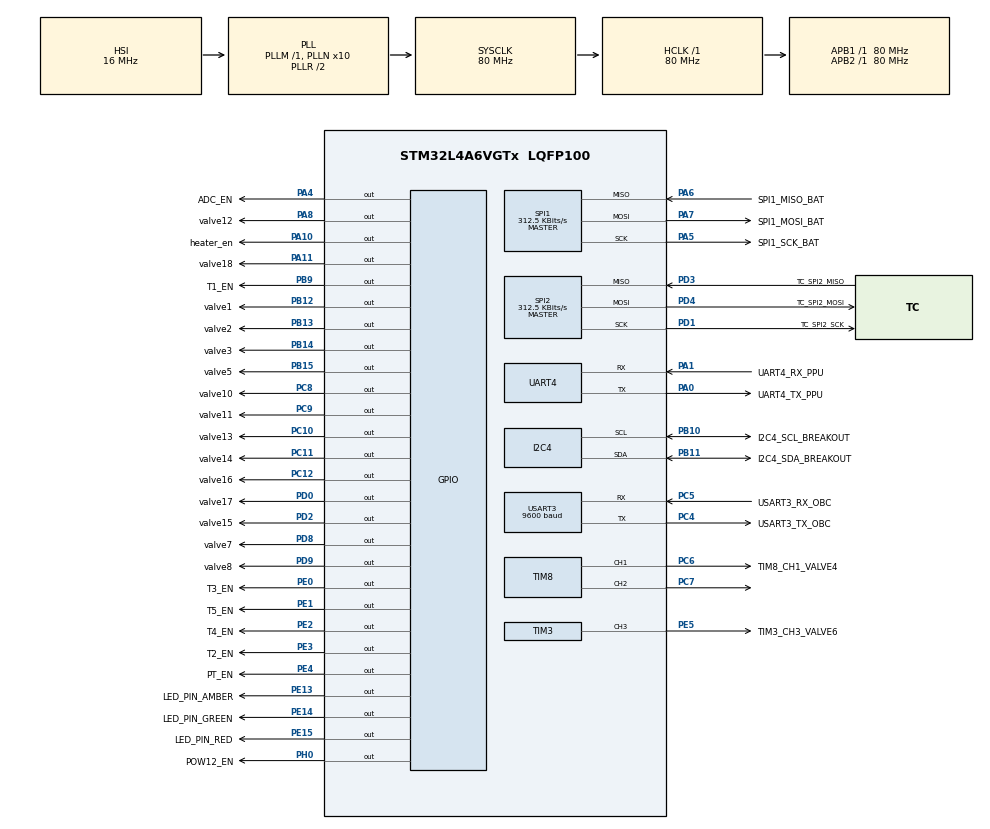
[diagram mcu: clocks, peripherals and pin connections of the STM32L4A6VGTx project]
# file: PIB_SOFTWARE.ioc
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FREERTOS.BinarySemaphores01=s_rx_semaphore,Dynamic,NULL,Depleted;s_tx_semaphore,Dynamic,NULL,Depleted
FREERTOS.Mutexes01=fsm_mutex,Static,myMutex01ControlBlock,Available;spi_mutex,Dynamic,NULL,Available;i2c_mutex,Dynamic,NULL,Available;command_flags_mutex,Dynamic,NULL,Available;data_mutex,Dynamic,NULL,Available;error_flag_mutex,Dynamic,NULL,Available;uart_mutex,Dynamic,NULL,Available
FREERTOS.Queues01=q_safety_cmds,10,uint8_t,0,Dynamic,NULL,NULL;q_normal_cmds,10,uint8_t,0,Dynamic,NULL,NULL
FREERTOS.Tasks01=heart_beat,8,500,StartDefaultTask,Default,NULL,Dynamic,NULL,NULL;Task_UART_RX,40,500,StartTask02,Default,NULL,Dynamic,NULL,NULL;Task_Safety,40,500,StartTask03,Default,NULL,Dynamic,NULL,NULL;Task_Experiment,32,900,StartTask04,Default,NULL,Dynamic,NULL,NULL;Task_UART_TX,24,500,StartTask05,Default,NULL,Dynamic,NULL,NULL;Task_Data,24,500,StartTask06,Default,NULL,Dynamic,NULL,NULL;Task_FSM,40,500,StartTask07,Default,NULL,Dynamic,NULL,NULL
FREERTOS.configMINIMAL_STACK_SIZE=500
FREERTOS.configTOTAL_HEAP_SIZE=20000
FREERTOS.configUSE_NEWLIB_REENTRANT=1
I2C4.Timing=0x10D19CE4
Mcu.Family=STM32L4
Mcu.Name=STM32L4A6VGTx
Mcu.Package=LQFP100
NVIC.PriorityGroup=NVIC_PRIORITYGROUP_4
NVIC.TIM6_DAC_IRQn=true\:15\:0\:false\:false\:true\:false\:false\:true\:true
NVIC.TimeBase=TIM6_DAC_IRQn
NVIC.TimeBaseIP=TIM6
NVIC.USART3_IRQn=true\:5\:0\:false\:false\:true\:true\:true\:true\:true
PA0.GPIO_Label=UART4_TX_PPU
PA0.Mode=Asynchronous
PA0.Signal=UART4_TX
PA1.GPIO_Label=UART4_RX_PPU
PA1.Mode=Asynchronous
PA1.Signal=UART4_RX
PA10.GPIO_Label=heater_en
PA10.Signal=GPIO_Output
PA11.GPIO_Label=valve18
PA11.Signal=GPIO_Output
PA13\ (JTMS/SWDIO).Mode=Trace_Asynchronous_SW
PA13\ (JTMS/SWDIO).Signal=SYS_JTMS-SWDIO
PA14\ (JTCK/SWCLK).Mode=Trace_Asynchronous_SW
PA14\ (JTCK/SWCLK).Signal=SYS_JTCK-SWCLK
PA4.GPIO_Label=ADC_EN
PA4.Signal=GPIO_Output
PA5.GPIO_Label=SPI1_SCK_BAT
PA5.Mode=Full_Duplex_Master
PA5.Signal=SPI1_SCK
PA6.GPIO_Label=SPI1_MISO_BAT
PA6.Mode=Full_Duplex_Master
PA6.Signal=SPI1_MISO
PA7.GPIO_Label=SPI1_MOSI_BAT
PA7.Mode=Full_Duplex_Master
PA7.Signal=SPI1_MOSI
PA8.GPIO_Label=valve12
PA8.Signal=GPIO_Output
PB10.GPIO_Label=I2C4_SCL_BREAKOUT
PB10.Mode=I2C
PB10.Signal=I2C4_SCL
PB11.GPIO_Label=I2C4_SDA_BREAKOUT
PB11.Mode=I2C
PB11.Signal=I2C4_SDA
PB12.GPIO_Label=valve1
PB12.Signal=GPIO_Output
PB13.GPIO_Label=valve2
PB13.Signal=GPIO_Output
PB14.GPIO_Label=valve3
PB14.Signal=GPIO_Output
PB15.GPIO_Label=valve5
PB15.Signal=GPIO_Output
PB3\ (JTDO/TRACESWO).Mode=Trace_Asynchronous_SW
PB3\ (JTDO/TRACESWO).Signal=SYS_JTDO-SWO
PB9.GPIO_Label=T1_EN
PB9.Signal=GPIO_Output
PC10.GPIO_Label=valve13
PC10.Signal=GPIO_Output
PC11.GPIO_Label=valve14
PC11.Signal=GPIO_Output
PC12.GPIO_Label=valve16
PC12.Signal=GPIO_Output
PC4.GPIO_Label=USART3_TX_OBC
PC4.Mode=Asynchronous
PC4.Signal=USART3_TX
PC5.GPIO_Label=USART3_RX_OBC
PC5.Mode=Asynchronous
PC5.Signal=USART3_RX
PC6.GPIO_Label=TIM8_CH1_VALVE4
PC6.Signal=S_TIM8_CH1
PC7.Signal=S_TIM8_CH2
PC8.GPIO_Label=valve10
PC8.Signal=GPIO_Output
PC9.GPIO_Label=valve11
PC9.Signal=GPIO_Output
PD0.GPIO_Label=valve17
PD0.Signal=GPIO_Output
PD1.GPIO_Label=TC_SPI2_SCK
PD1.Mode=Full_Duplex_Master
PD1.Signal=SPI2_SCK
PD2.GPIO_Label=valve15
PD2.Signal=GPIO_Output
PD3.GPIO_Label=TC_SPI2_MISO
PD3.Mode=Full_Duplex_Master
PD3.Signal=SPI2_MISO
PD4.GPIO_Label=TC_SPI2_MOSI
PD4.Mode=Full_Duplex_Master
PD4.Signal=SPI2_MOSI
PD8.GPIO_Label=valve7
PD8.Signal=GPIO_Output
PD9.GPIO_Label=valve8
PD9.Signal=GPIO_Output
PE0.GPIO_Label=T3_EN
PE0.Signal=GPIO_Output
PE1.GPIO_Label=T5_EN
PE1.Signal=GPIO_Output
PE13.GPIO_Label=LED_PIN_AMBER
PE13.Signal=GPIO_Output
PE14.GPIO_Label=LED_PIN_GREEN
PE14.Signal=GPIO_Output
PE15.GPIO_Label=LED_PIN_RED
PE15.Signal=GPIO_Output
PE2.GPIO_Label=T4_EN
PE2.Signal=GPIO_Output
PE3.GPIO_Label=T2_EN
PE3.Signal=GPIO_Output
PE4.GPIO_Label=PT_EN
PE4.Signal=GPIO_Output
PE5.GPIO_Label=TIM3_CH3_VALVE6
PE5.Signal=S_TIM3_CH3
PH0-OSC_IN\ (PH0).GPIO_Label=POW12_EN
PH0-OSC_IN\ (PH0).Signal=GPIO_Output
ProjectManager.HeapSize=0x200
ProjectManager.StackSize=0x400
ProjectManager.TargetToolchain=STM32CubeIDE
RCC.ADCFreq_Value=64000000
RCC.AHBFreq_Value=80000000
RCC.APB1Freq_Value=80000000
RCC.APB1TimFreq_Value=80000000
RCC.APB2Freq_Value=80000000
RCC.APB2TimFreq_Value=80000000
RCC.CortexFreq_Value=80000000
RCC.HCLKFreq_Value=80000000
RCC.HSE_VALUE=8000000
RCC.HSI48_VALUE=48000000
RCC.HSI_VALUE=16000000
RCC.LSE_VALUE=32768
RCC.MSI_VALUE=4000000
RCC.PLLN=10
RCC.PLLSourceVirtual=RCC_PLLSOURCE_HSI
RCC.SYSCLKFreq_VALUE=80000000
RCC.SYSCLKSource=RCC_SYSCLKSOURCE_PLLCLK
RCC.USBFreq_Value=64000000
RCC.VCOOutputFreq_Value=160000000
SH.S_TIM3_CH3.0=TIM3_CH3,PWM Generation3 CH3
SH.S_TIM8_CH1.0=TIM8_CH1,PWM Generation1 CH1
SH.S_TIM8_CH2.0=TIM8_CH2,PWM Generation2 CH2
SPI1.BaudRatePrescaler=SPI_BAUDRATEPRESCALER_256
SPI1.CLKPhase=SPI_PHASE_2EDGE
SPI1.CLKPolarity=SPI_POLARITY_HIGH
SPI1.CalculateBaudRate=312.5 KBits/s
SPI1.DataSize=SPI_DATASIZE_8BIT
SPI1.Direction=SPI_DIRECTION_2LINES
SPI1.Mode=SPI_MODE_MASTER
SPI1.VirtualType=VM_MASTER
SPI2.BaudRatePrescaler=SPI_BAUDRATEPRESCALER_256
SPI2.CLKPhase=SPI_PHASE_2EDGE
SPI2.CLKPolarity=SPI_POLARITY_HIGH
SPI2.CalculateBaudRate=312.5 KBits/s
SPI2.DataSize=SPI_DATASIZE_8BIT
SPI2.Direction=SPI_DIRECTION_2LINES
SPI2.Mode=SPI_MODE_MASTER
SPI2.VirtualType=VM_MASTER
TIM3.Channel-PWM\ Generation3\ CH3=TIM_CHANNEL_3
TIM3.Period=400-1
TIM3.Prescaler=4-1
TIM8.AutoReloadPreload=TIM_AUTORELOAD_PRELOAD_ENABLE
TIM8.Channel-PWM\ Generation1\ CH1=TIM_CHANNEL_1
TIM8.Channel-PWM\ Generation2\ CH2=TIM_CHANNEL_2
USART3.BaudRate=9600
USART3.VirtualMode-Asynchronous=VM_ASYNC
VP_FREERTOS_VS_CMSIS_V2.Mode=CMSIS_V2
VP_SYS_VS_tim6.Mode=TIM6
VP_TIM3_VS_ClockSourceINT.Mode=Internal
VP_TIM8_VS_ClockSourceINT.Mode=Internal
board=custom

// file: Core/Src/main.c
/* USER CODE BEGIN Header */
/**
  ******************************************************************************
  * @file           : main.c
  * @brief          : Main program body
  ******************************************************************************
  * @attention
  *
  * Copyright (c) 2026 STMicroelectronics.
  * All rights reserved.
  *
  * This software is licensed under terms that can be found in the LICENSE file
  * in the root directory of this software component.
  * If no LICENSE file comes with this software, it is provided AS-IS.
  *
  ******************************************************************************
  */
/* USER CODE END Header */
#include "main.h"
#include "cmsis_os.h"
#include "i2c.h"
#include "spi.h"
#include "tim.h"
#include "usart.h"
#include "gpio.h"

/* USER CODE BEGIN Includes */

/* Native FreeRTOS — needed for ISR-safe functions */
#include "FreeRTOS.h"
#include "semphr.h"

extern osSemaphoreId_t s_rx_semaphoreHandle;

// ----------------- Sensor Includes -----------------------

#include "ad7124_console_app.h"
#include "ad7124.h"
#include "max31856.h"
#include "fdc2214.h"
#include "ad7177.h"

// Serial Interface For Debugging || Serial wire JTAG debug port (SWJ-DP)
#include <stdio.h>

// Include main struct

#include "systems.h"

#include "pwm.h"

/* USER CODE END Includes */

/* USER CODE BEGIN PV */

int32_t setupResult;
uint32_t device_id;
uint8_t rx_cmd[2]; // single byte for all UART commands. second byte for arguments if needed. (e.g. for setting pressure value)
uint8_t rx_cmd_copy[2];  // task reads from here — declare this globally

uint8_t tx_cmd[1];
char uart_buffer[64]; // used for sending data across uart3
float temperature;
float value;
uint8_t duty_cycle;
uint32_t frequency;
GPIO_PinState pinState;

struct system_flags payload_flags = {
	.exceed_pressure_flag = false,
	.exceed_temp_flag = false
};

struct error_flags error_flags = {

};

struct Data_Log data_payload_packet;

Payload_System Payload_Sys;

extern osMutexId_t uart_mutexHandle;

// chip struct defines to be able to extern them.
max31856_t max31856T1 = {
    .spi_handle = &hspi2,
    .cs_pin = { .gpio_port = T1_EN_GPIO_Port, .gpio_pin = T1_EN_Pin }
};

max31856_t max31856T2 = {
    .spi_handle = &hspi2,
    .cs_pin = { .gpio_port = T2_EN_GPIO_Port, .gpio_pin = T2_EN_Pin }
};

max31856_t max31856T3 = {
    .spi_handle = &hspi2,
    .cs_pin = { .gpio_port = T3_EN_GPIO_Port, .gpio_pin = T3_EN_Pin }
};

max31856_t max31856T4 = {
    .spi_handle = &hspi2,
    .cs_pin = { .gpio_port = T4_EN_GPIO_Port, .gpio_pin = T4_EN_Pin }
};

max31856_t max31856T5 = {
    .spi_handle = &hspi2,
    .cs_pin = { .gpio_port = T5_EN_GPIO_Port, .gpio_pin = T5_EN_Pin }
};

/* USER CODE END PV */

void SystemClock_Config(void);
void MX_FREERTOS_Init(void);

/* USER CODE BEGIN 0 */

// struct max31856_t *max31856;

/* USER CODE END 0 */

int main(void)
{

  /* MCU Configuration--------------------------------------------------------*/

  /* Reset of all peripherals, Initializes the Flash interface and the Systick. */
  HAL_Init();

  /* Configure the system clock */
  SystemClock_Config();

  /* USER CODE BEGIN SysInit */

//  GPIO_Driver_Init(&LED_BLINK);

  /* USER CODE END SysInit */

  /* Initialize all configured peripherals */
  MX_GPIO_Init();
  MX_I2C4_Init();
  MX_SPI1_Init();
  MX_SPI2_Init();
  MX_UART4_Init();
  MX_USART3_UART_Init();
  MX_TIM8_Init();
  MX_TIM3_Init();
  /* USER CODE BEGIN 2 */

  // Initialize Payload Main Struct
  Payload_Sys.fsm_state = STATE_BOOT;
  Payload_Sys.err_flags = error_flags;
  Payload_Sys.sys_flags = payload_flags;
  Payload_Sys.data_log = data_payload_packet;

//  HAL_GPIO_WritePin(LED_PIN_RED_GPIO_Port, LED_PIN_RED_Pin, GPIO_PIN_SET);

  // blocking no work
//  HAL_UART_Receive(&huart3, rx_cmd, 1,0xFFFF);
//  HAL_UART_Transmit(&huart3, rx_cmd, 1, 0xFFFF);

  // start receiving UART commands.

  HAL_UART_Receive_IT(&huart3, rx_cmd, 2);
 // HAL_UART_Receive_DMA(&huart3, rx_cmd, 2);

  // https://deepbluembedded.com/stm32-uart-dma-receive-transmit-rx-tx-examples/

// DEACTIVATE ALL SPI2 ICs

// (NOT CS) So if a pin is pulled low the chip will be selected.

  // SPI 2 BUS
  HAL_GPIO_WritePin(T1_EN_GPIO_Port, T1_EN_Pin, GPIO_PIN_SET);
  HAL_GPIO_WritePin(T2_EN_GPIO_Port, T2_EN_Pin, GPIO_PIN_SET);
  HAL_GPIO_WritePin(T3_EN_GPIO_Port, T3_EN_Pin, GPIO_PIN_SET);
  HAL_GPIO_WritePin(T4_EN_GPIO_Port, T4_EN_Pin, GPIO_PIN_SET);
  HAL_GPIO_WritePin(T5_EN_GPIO_Port, T5_EN_Pin, GPIO_PIN_SET);
  HAL_GPIO_WritePin(PT_EN_GPIO_Port, PT_EN_Pin, GPIO_PIN_SET);
  // SPI 1 BUS

//  HAL_GPIO_WritePin(heater_en_GPIO_Port, heater_en_Pin, GPIO_PIN_SET);

  HAL_GPIO_WritePin(ADC_EN_GPIO_Port, ADC_EN_Pin, GPIO_PIN_SET);

  HAL_GPIO_WritePin(POW12_EN_GPIO_Port, POW12_EN_Pin, GPIO_PIN_SET); // turn on voltage regulator.

 // create a setup function for all sensors and turn red_led if fails to setup / read from device id's of all sensors

    // RED = MAX31856 Fail
    // AMBER = ADC2214 Voltage
    // AMBER + GREEN = ADC2214 Pressure
    // RED + AMBER = FDC2214
    // Green = Everything Setup Correctly

// ------------------ SET-UP SENSORS -------------------- \\

// ADC7124 || PT Readings Init

  /* Initialize the AD7124 application before the FreeRTOS takes over  */

    // this setup will be for POWER
    // added param for cs -> CS = 0 = AD7124 VOLTAGE      |
    				//       CS = 1 = AD7124 PRESSURE   | for measuring

// Setup pressure ADC

    if ((setupResult = ad7124_app_initialize(AD7124_CONFIG_B,PRESSURE)) < 0) {
  		// Handle error setting up AD7124 here
  	  printf("Failed to init ad7124 pressure \n");
  	  HAL_GPIO_WritePin(LED_PIN_AMBER_GPIO_Port, LED_PIN_AMBER_Pin, GPIO_PIN_SET);
      HAL_GPIO_WritePin(LED_PIN_GREEN_GPIO_Port, LED_PIN_GREEN_Pin, GPIO_PIN_RESET);
    }
    printf("Setup Pressure Result: %ld", setupResult);

// Setup Voltage ADC

    if ((setupResult = ad7124_app_initialize(AD7124_CONFIG_B,VOLTAGE)) < 0) {
  		// Handle error setting up AD7124 here
  	  printf("Failed to init ad7124 voltage \n");
  	  HAL_GPIO_WritePin(LED_PIN_AMBER_GPIO_Port, LED_PIN_AMBER_Pin, GPIO_PIN_SET);

    }

    printf("Setup voltage Result: %ld", setupResult);

// MAX31856 Setup || Temperature Reading K-Type Thermocouples Readings INIT

// T1

   	max31856_init(&max31856T1);

   	max31856_set_noise_filter(&max31856T1, CR0_FILTER_OUT_60Hz); // Noise filter is for filtering out EMI in very long wires
   	max31856_set_cold_junction_enable(&max31856T1, CR0_CJ_ENABLED); // External Sensor which measures the cold junction and references
   	max31856_set_thermocouple_type(&max31856T1, CR1_TC_TYPE_K); // K - type thermocouple
   	max31856_set_average_samples(&max31856T1, CR1_AVG_TC_SAMPLES_2);
   	max31856_set_open_circuit_fault_detection(&max31856T1, CR0_OC_DETECT_ENABLED_TC_LESS_2ms);
   	max31856_set_conversion_mode(&max31856T1, CR0_CONV_CONTINUOUS);

//   T2

 	max31856_init(&max31856T2);

   	max31856_set_noise_filter(&max31856T2, CR0_FILTER_OUT_60Hz);
   	max31856_set_cold_junction_enable(&max31856T2, CR0_CJ_ENABLED); // External Sensor which measures the cold junction and references
   	max31856_set_thermocouple_type(&max31856T2, CR1_TC_TYPE_K); // K - type thermocouple
   	max31856_set_average_samples(&max31856T2, CR1_AVG_TC_SAMPLES_2);
   	max31856_set_open_circuit_fault_detection(&max31856T2, CR0_OC_DETECT_ENABLED_TC_LESS_2ms);
   	max31856_set_conversion_mode(&max31856T2, CR0_CONV_CONTINUOUS); // continous mode for testing

//   T3

 	max31856_init(&max31856T3);

   	max31856_set_noise_filter(&max31856T3, CR0_FILTER_OUT_60Hz);
   	max31856_set_cold_junction_enable(&max31856T3, CR0_CJ_ENABLED);
   	max31856_set_thermocouple_type(&max31856T3, CR1_TC_TYPE_K);
   	max31856_set_average_samples(&max31856T3, CR1_AVG_TC_SAMPLES_2);
   	max31856_set_open_circuit_fault_detection(&max31856T3, CR0_OC_DETECT_ENABLED_TC_LESS_2ms);
   	max31856_set_conversion_mode(&max31856T3, CR0_CONV_CONTINUOUS);

//  T4

 	max31856_init(&max31856T4);

   	max31856_set_noise_filter(&max31856T4, CR0_FILTER_OUT_60Hz);
   	max31856_set_cold_junction_enable(&max31856T4, CR0_CJ_ENABLED);
   	max31856_set_thermocouple_type(&max31856T4, CR1_TC_TYPE_K);
   	max31856_set_average_samples(&max31856T4, CR1_AVG_TC_SAMPLES_2);
   	max31856_set_open_circuit_fault_detection(&max31856T4, CR0_OC_DETECT_ENABLED_TC_LESS_2ms);
   	max31856_set_conversion_mode(&max31856T4, CR0_CONV_CONTINUOUS);

//  T5

 	max31856_init(&max31856T5);

   	max31856_set_noise_filter(&max31856T5, CR0_FILTER_OUT_60Hz);
   	max31856_set_cold_junction_enable(&max31856T5, CR0_CJ_ENABLED);
   	max31856_set_thermocouple_type(&max31856T5, CR1_TC_TYPE_K);
   	max31856_set_average_samples(&max31856T5, CR1_AVG_TC_SAMPLES_2);
   	max31856_set_open_circuit_fault_detection(&max31856T5, CR0_OC_DETECT_ENABLED_TC_LESS_2ms);
   	max31856_set_conversion_mode(&max31856T5, CR0_CONV_CONTINUOUS);

// FDC2214 SETUP

   	setupResult = FDC2214_Begin();
   	if(setupResult != 0){

   		// need to figure out what to do if an iniit fails in flight
   		printf("Failed to communicate with FDC2214");

        HAL_GPIO_WritePin(LED_PIN_AMBER_GPIO_Port, LED_PIN_AMBER_Pin, GPIO_PIN_SET);
        HAL_GPIO_WritePin(LED_PIN_RED_GPIO_Port, LED_PIN_RED_Pin, GPIO_PIN_SET);

   		reset_fdc2214();
   		printf("Try Again");
   		FDC2214_Begin();
   	}
   	else{

   	   	// set default FDC2214 configurations
   	   	FDC2214_configure_defaults();

   	   	// toggle channel

   	   	FDC2214_set_active_channel(FDC2214_CH0);
   	   	FDC2214_setAutoscan(0); // false
   	   	FDC2214_wakeup();

   	}

   	HAL_TIM_PWM_Start(&htim8, TIM_CHANNEL_2); // valve 9
   	//pwm_set(&htim3,TIM_CHANNEL_3, frequency, duty_cycle);
   	pwm_set(&htim8,TIM_CHANNEL_2, 100, 10);

  /* USER CODE END 2 */

  /* Init scheduler */
  osKernelInitialize();  /* Call init function for freertos objects (in cmsis_os2.c) */
  MX_FREERTOS_Init();

  /* Start scheduler */
  osKernelStart();

  /* We should never get here as control is now taken by the scheduler */

  /* Infinite loop */
  /* USER CODE BEGIN WHILE */
  while (1)
  {

    // should never make it in here.

    /* USER CODE END WHILE */

  }
}

void SystemClock_Config(void)
{
  RCC_OscInitTypeDef RCC_OscInitStruct = {0};
  RCC_ClkInitTypeDef RCC_ClkInitStruct = {0};

  /** Configure the main internal regulator output voltage
  */
  if (HAL_PWREx_ControlVoltageScaling(PWR_REGULATOR_VOLTAGE_SCALE1) != HAL_OK)
  {
    Error_Handler();
  }

  /** Initializes the RCC Oscillators according to the specified parameters
  * in the RCC_OscInitTypeDef structure.
  */
  RCC_OscInitStruct.OscillatorType = RCC_OSCILLATORTYPE_HSI;
  RCC_OscInitStruct.HSIState = RCC_HSI_ON;
  RCC_OscInitStruct.HSICalibrationValue = RCC_HSICALIBRATION_DEFAULT;
  RCC_OscInitStruct.PLL.PLLState = RCC_PLL_ON;
  RCC_OscInitStruct.PLL.PLLSource = RCC_PLLSOURCE_HSI;
  RCC_OscInitStruct.PLL.PLLM = 1;
  RCC_OscInitStruct.PLL.PLLN = 10;
  RCC_OscInitStruct.PLL.PLLP = RCC_PLLP_DIV2;
  RCC_OscInitStruct.PLL.PLLQ = RCC_PLLQ_DIV2;
  RCC_OscInitStruct.PLL.PLLR = RCC_PLLR_DIV2;
  if (HAL_RCC_OscConfig(&RCC_OscInitStruct) != HAL_OK)
  {
    Error_Handler();
  }

  /** Initializes the CPU, AHB and APB buses clocks
  */
  RCC_ClkInitStruct.ClockType = RCC_CLOCKTYPE_HCLK|RCC_CLOCKTYPE_SYSCLK
                              |RCC_CLOCKTYPE_PCLK1|RCC_CLOCKTYPE_PCLK2;
  RCC_ClkInitStruct.SYSCLKSource = RCC_SYSCLKSOURCE_PLLCLK;
  RCC_ClkInitStruct.AHBCLKDivider = RCC_SYSCLK_DIV1;
  RCC_ClkInitStruct.APB1CLKDivider = RCC_HCLK_DIV1;
  RCC_ClkInitStruct.APB2CLKDivider = RCC_HCLK_DIV1;

  if (HAL_RCC_ClockConfig(&RCC_ClkInitStruct, FLASH_LATENCY_4) != HAL_OK)
  {
    Error_Handler();
  }
}

/* USER CODE BEGIN 4 */

/* USER CODE BEGIN 4 */
void HAL_UART_RxCpltCallback(UART_HandleTypeDef *huart) {

    if (huart->Instance != USART3) return;  // protect against any other UART commands

//    rx_cmd_copy[0] = rx_cmd[0];
//    rx_cmd_copy[1] = rx_cmd[1];

//    osMutexAcquire(uart_mutexHandle, osWaitForever);

    //HAL_UART_Receive_DMA(&huart3, rx_cmd, 2);
	HAL_UART_Receive_IT(&huart3, rx_cmd, 2);

//	osMutexRelease(uart_mutexHandle);
	printf("Value %d \r\n", rx_cmd[0]); // print value to stm console
	//printf("Argument %d \r\n", rx_cmd[1]); // print argument value to stm console

	if(rx_cmd[0]>0 && rx_cmd[0]<255){
//		HAL_GPIO_TogglePin(LED_PIN_GREEN_GPIO_Port, LED_PIN_GREEN_Pin);

		// release semaphore so that the UART task can decipher.
		BaseType_t xWoken = pdFALSE; // used to directly go to the UART_RX task rather than go back to what was previously going on in the program before the ISR and then seeing the semaphore
		xSemaphoreGiveFromISR(s_rx_semaphoreHandle, &xWoken); // FreeRTOS will set xWoken if there's a task waiting on this semaphore
		portYIELD_FROM_ISR(xWoken);
	}

}

int _write(int file, char *ptr, int len) {
 for (int i = 0; i < len; i++) {
 ITM_SendChar((*ptr++));
 }
 return len;
}
/* USER CODE END 4 */

void HAL_TIM_PeriodElapsedCallback(TIM_HandleTypeDef *htim)
{
  if (htim->Instance == TIM6)
  {
    HAL_IncTick();
  }
}

void Error_Handler(void)
{
  __disable_irq();
  while (1)
  {
  }
}

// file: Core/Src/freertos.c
/* USER CODE BEGIN Header */
/**
  ******************************************************************************
  * File Name          : freertos.c
  * Description        : Code for freertos applications
  ******************************************************************************
  * @attention
  *
  * Copyright (c) 2026 STMicroelectronics.
  * All rights reserved.
  *
  * This software is licensed under terms that can be found in the LICENSE file
  * in the root directory of this software component.
  * If no LICENSE file comes with this software, it is provided AS-IS.
  *
  ******************************************************************************
  */
/* USER CODE END Header */

#include "FreeRTOS.h"
#include "task.h"
#include "main.h"
#include "cmsis_os.h"

/* USER CODE BEGIN Includes */

#include "systems.h"

#include "ad7124_console_app.h"
#include "ad7124.h"
#include "max31856.h"
#include "fdc2214.h"

#include "control_task.h"
#include "semphr.h"
#include "uart_handler.h"

#include "sensors.h"

#include "pwm.h"

/* USER CODE END Includes */

typedef StaticSemaphore_t osStaticMutexDef_t;

/* USER CODE BEGIN Variables */

extern uint8_t rx_cmd[];
extern uint8_t rx_cmd_copy[];
extern char uart_buffer[];
extern uint32_t device_id;
extern int32_t setupResult;
extern float temperature;
extern float value;

extern uint8_t duty_cycle;
extern uint32_t frequency;

extern max31856_t max31856T1;
extern max31856_t max31856T2;
extern max31856_t max31856T3;
extern max31856_t max31856T4;
extern max31856_t max31856T5;

extern GPIO_PinState pinState;

extern TIM_HandleTypeDef htim3;
extern TIM_HandleTypeDef htim8;

extern Payload_System Payload_Sys;

/* USER CODE END Variables */
/* Definitions for heart_beat */
osThreadId_t heart_beatHandle;
const osThreadAttr_t heart_beat_attributes = {
  .name = "heart_beat",
  .stack_size = 500 * 4,
  .priority = (osPriority_t) osPriorityLow,
};
/* Definitions for Task_UART_RX */
osThreadId_t Task_UART_RXHandle;
const osThreadAttr_t Task_UART_RX_attributes = {
  .name = "Task_UART_RX",
  .stack_size = 500 * 4,
  .priority = (osPriority_t) osPriorityHigh,
};
/* Definitions for Task_Safety */
osThreadId_t Task_SafetyHandle;
const osThreadAttr_t Task_Safety_attributes = {
  .name = "Task_Safety",
  .stack_size = 500 * 4,
  .priority = (osPriority_t) osPriorityHigh,
};
/* Definitions for Task_Experiment */
osThreadId_t Task_ExperimentHandle;
const osThreadAttr_t Task_Experiment_attributes = {
  .name = "Task_Experiment",
  .stack_size = 900 * 4,
  .priority = (osPriority_t) osPriorityAboveNormal,
};
/* Definitions for Task_UART_TX */
osThreadId_t Task_UART_TXHandle;
const osThreadAttr_t Task_UART_TX_attributes = {
  .name = "Task_UART_TX",
  .stack_size = 500 * 4,
  .priority = (osPriority_t) osPriorityNormal,
};
/* Definitions for Task_Data */
osThreadId_t Task_DataHandle;
const osThreadAttr_t Task_Data_attributes = {
  .name = "Task_Data",
  .stack_size = 500 * 4,
  .priority = (osPriority_t) osPriorityNormal,
};
/* Definitions for Task_FSM */
osThreadId_t Task_FSMHandle;
const osThreadAttr_t Task_FSM_attributes = {
  .name = "Task_FSM",
  .stack_size = 500 * 4,
  .priority = (osPriority_t) osPriorityHigh,
};
/* Definitions for q_safety_cmds */
osMessageQueueId_t q_safety_cmdsHandle;
const osMessageQueueAttr_t q_safety_cmds_attributes = {
  .name = "q_safety_cmds"
};
/* Definitions for q_normal_cmds */
osMessageQueueId_t q_normal_cmdsHandle;
const osMessageQueueAttr_t q_normal_cmds_attributes = {
  .name = "q_normal_cmds"
};
/* Definitions for fsm_mutex */
osMutexId_t fsm_mutexHandle;
osStaticMutexDef_t myMutex01ControlBlock;
const osMutexAttr_t fsm_mutex_attributes = {
  .name = "fsm_mutex",
  .cb_mem = &myMutex01ControlBlock,
  .cb_size = sizeof(myMutex01ControlBlock),
};
/* Definitions for spi_mutex */
osMutexId_t spi_mutexHandle;
const osMutexAttr_t spi_mutex_attributes = {
  .name = "spi_mutex"
};
/* Definitions for i2c_mutex */
osMutexId_t i2c_mutexHandle;
const osMutexAttr_t i2c_mutex_attributes = {
  .name = "i2c_mutex"
};
/* Definitions for command_flags_mutex */
osMutexId_t command_flags_mutexHandle;
const osMutexAttr_t command_flags_mutex_attributes = {
  .name = "command_flags_mutex"
};
/* Definitions for data_mutex */
osMutexId_t data_mutexHandle;
const osMutexAttr_t data_mutex_attributes = {
  .name = "data_mutex"
};
/* Definitions for error_flag_mutex */
osMutexId_t error_flag_mutexHandle;
const osMutexAttr_t error_flag_mutex_attributes = {
  .name = "error_flag_mutex"
};
/* Definitions for uart_mutex */
osMutexId_t uart_mutexHandle;
const osMutexAttr_t uart_mutex_attributes = {
  .name = "uart_mutex"
};
/* Definitions for s_rx_semaphore */
osSemaphoreId_t s_rx_semaphoreHandle;
const osSemaphoreAttr_t s_rx_semaphore_attributes = {
  .name = "s_rx_semaphore"
};
/* Definitions for s_tx_semaphore */
osSemaphoreId_t s_tx_semaphoreHandle;
const osSemaphoreAttr_t s_tx_semaphore_attributes = {
  .name = "s_tx_semaphore"
};

void StartDefaultTask(void *argument);
void StartTask02(void *argument);
void StartTask03(void *argument);
void StartTask04(void *argument);
void StartTask05(void *argument);
void StartTask06(void *argument);
void StartTask07(void *argument);

void MX_FREERTOS_Init(void); /* (MISRA C 2004 rule 8.1) */

void MX_FREERTOS_Init(void) {
  /* Create the mutex(es) */
  /* creation of fsm_mutex */
  fsm_mutexHandle = osMutexNew(&fsm_mutex_attributes);

  /* creation of spi_mutex */
  spi_mutexHandle = osMutexNew(&spi_mutex_attributes);

  /* creation of i2c_mutex */
  i2c_mutexHandle = osMutexNew(&i2c_mutex_attributes);

  /* creation of command_flags_mutex */
  command_flags_mutexHandle = osMutexNew(&command_flags_mutex_attributes);

  /* creation of data_mutex */
  data_mutexHandle = osMutexNew(&data_mutex_attributes);

  /* creation of error_flag_mutex */
  error_flag_mutexHandle = osMutexNew(&error_flag_mutex_attributes);

  /* creation of uart_mutex */
  uart_mutexHandle = osMutexNew(&uart_mutex_attributes);

  /* Create the semaphores(s) */
  /* creation of s_rx_semaphore */
  s_rx_semaphoreHandle = osSemaphoreNew(1, 0, &s_rx_semaphore_attributes);

  /* creation of s_tx_semaphore */
  s_tx_semaphoreHandle = osSemaphoreNew(1, 0, &s_tx_semaphore_attributes);

  /* Create the queue(s) */
  /* creation of q_safety_cmds */
  q_safety_cmdsHandle = osMessageQueueNew (10, sizeof(uint8_t), &q_safety_cmds_attributes);

  /* creation of q_normal_cmds */
  q_normal_cmdsHandle = osMessageQueueNew (10, sizeof(uint8_t), &q_normal_cmds_attributes);

  /* Create the thread(s) */
  /* creation of heart_beat */
  heart_beatHandle = osThreadNew(StartDefaultTask, NULL, &heart_beat_attributes);

  /* creation of Task_UART_RX */
  Task_UART_RXHandle = osThreadNew(StartTask02, NULL, &Task_UART_RX_attributes);

  /* creation of Task_Safety */
  Task_SafetyHandle = osThreadNew(StartTask03, NULL, &Task_Safety_attributes);

  /* creation of Task_Experiment */
  Task_ExperimentHandle = osThreadNew(StartTask04, NULL, &Task_Experiment_attributes);

  /* creation of Task_UART_TX */
  Task_UART_TXHandle = osThreadNew(StartTask05, NULL, &Task_UART_TX_attributes);

  /* creation of Task_Data */
  Task_DataHandle = osThreadNew(StartTask06, NULL, &Task_Data_attributes);

  /* creation of Task_FSM */
  Task_FSMHandle = osThreadNew(StartTask07, NULL, &Task_FSM_attributes);

}

void StartDefaultTask(void *argument)
{
  /* USER CODE BEGIN StartDefaultTask */
  /* Infinite loop */
  for(;;)
  {

	// the lowest priority task the heart beat of the program.
	//HAL_GPIO_TogglePin(LED_PIN_RED_GPIO_Port, LED_PIN_RED_Pin);
    //osDelay(500);

  }
  /* USER CODE END StartDefaultTask */
}

void StartTask02(void *argument)
{
  /* USER CODE BEGIN StartTask02 */
  /* Infinite loop */
  for(;;)
  {

	 // wait for semaphore to be released. This means the interrupt fired.

	if(osSemaphoreAcquire(s_rx_semaphoreHandle, osWaitForever)== osOK){

		UART_Frame_t rx_frame = {
			.cmd = rx_cmd[0],
			.arg = rx_cmd[1]
		};

		// decipher the rx_cmd - safety or normal command
		if(cmd_is_safety(rx_frame.cmd)){
			// add cmds to queue so that either safety_cmd can execute or normal in task_experiment
			osMessageQueuePut(q_safety_cmdsHandle, &rx_frame, 0, 0);
		}
		else{

			osMessageQueuePut(q_normal_cmdsHandle, &rx_frame, 0, 0);
		}

	}

    osDelay(1);
  }
  /* USER CODE END StartTask02 */
}

void StartTask03(void *argument)
{
  /* USER CODE BEGIN StartTask03 */
  /* Infinite loop */
  for(;;)
  {

	  // SAFETY TASK
	  UART_Frame_t frame; // create an instance of the struct to store into

	  if(osMessageQueueGet(q_safety_cmdsHandle, &frame, NULL, osWaitForever)==osOK){

//  printf("SAFETY COMMAND");
		  osMutexAcquire(data_mutexHandle, osWaitForever);

		  switch(frame.cmd){
			  case CMD_SAFETY_STOP_HEAT_TEST:
				  Payload_Sys.sys_flags.heat_experiment = false; // turn off heat experiment
				  break;
			  case CMD_SAFETY_STOP_READ_DATA:
				  Payload_Sys.sys_flags.JSON_reading = false;
				  break;
		  }

		  osMutexRelease(data_mutexHandle);

		// implement stop heat experiement

		// check for cmd and set flags w/ reference to the flags.

	  }
    osDelay(1);
  }
  /* USER CODE END StartTask03 */
}

void StartTask04(void *argument)
{
  /* USER CODE BEGIN StartTask04 */
  /* Infinite loop */
  UART_Frame_t frame; // create an instance of the struct to store into

  for(;;)
  {

	  // experiment / normal cmd task

	  // block until cmd gets pushed onto queue.

	  if(osMessageQueueGet(q_normal_cmdsHandle, &frame, NULL, osWaitForever)==osOK){

//		  printf("Normal CMD Received");

		  // fsm integration here?
	//	osMutexAcquire(spi_mutexHandle, osWaitForever);
	  //  osMutexAcquire(i2c_mutexHandle, osWaitForever); // see how this pans out rather than inputting this for each and every command.

		  switch(frame.cmd){ // decode command and execute
// Open Solenoid Valve Commands

		  	    case CMD_READ_DATA:
		  	    	osMutexAcquire(data_mutexHandle, osWaitForever);
		  	    	Payload_Sys.sys_flags.JSON_reading = true;
		  	    	osMutexRelease(data_mutexHandle);
		  	    	while(Payload_Sys.sys_flags.JSON_reading){
		  	  			osDelay(1000); // allows other threads to run while experiment is running like the polling thread
		  	  			osMutexAcquire(uart_mutexHandle, osWaitForever);
		  	  			printPacketJSON_UART(&Payload_Sys.data_log); // test this new code. over uart.
		  	  			//printf("Pressure 1 %f", Payload_Sys.data_log.pressure_1.pressure);
		  	  			osMutexRelease(uart_mutexHandle);
		  	    	}
		  	    	break;

		  	  	case HEAT_CATALYST:
		  	  		osMutexAcquire(data_mutexHandle, osWaitForever);
					Payload_Sys.sys_flags.heat_experiment = true;
		  	  		osMutexRelease(data_mutexHandle);
		  	  		HAL_GPIO_WritePin(LED_PIN_GREEN_GPIO_Port, LED_PIN_GREEN_Pin,GPIO_PIN_SET);

		  	  		while(Payload_Sys.sys_flags.heat_experiment){
		  	  			float temperature;

		  	  			osDelay(1000); // allows other threads to run while experiment is running like the polling thread

		  	  			//printPacketJSON(&Payload_Sys.data_log);
		  	  			osMutexAcquire(uart_mutexHandle, osWaitForever);
		  	  			printPacketJSON_UART(&Payload_Sys.data_log);
		  	  			osMutexRelease(uart_mutexHandle);

						temperature = Payload_Sys.data_log.tc1.tc_temp; // max31856_read_CJ_temp(&max31856T1); // change to TJ when done testing.
						//printf("%f", temperature);
						//printf("%f Temperature Considered", temperature);   // compensates already for cold junction reading
						if(temperature<140){
							//printf(" ON \n");
							HAL_GPIO_WritePin(heater_en_GPIO_Port, heater_en_Pin, GPIO_PIN_SET);
							HAL_GPIO_WritePin(LED_PIN_RED_GPIO_Port, LED_PIN_RED_Pin, GPIO_PIN_SET);
						}
						else if(temperature>145){
							//printf(" OFF \n");
							HAL_GPIO_WritePin(heater_en_GPIO_Port, heater_en_Pin, GPIO_PIN_RESET);
							HAL_GPIO_WritePin(LED_PIN_RED_GPIO_Port, LED_PIN_RED_Pin, GPIO_PIN_RESET);
						}
						else{
						}

		  	  		}
		  	  		HAL_GPIO_WritePin(LED_PIN_GREEN_GPIO_Port, LED_PIN_GREEN_Pin,GPIO_PIN_RESET);

		  	  		HAL_GPIO_WritePin(heater_en_GPIO_Port, heater_en_Pin, GPIO_PIN_RESET); // safety for when out of loop heater turns off.
		  	  		break;
		 		case CMD_OPEN_SOL1:
					// check flags before executing.
					// or create a dedicated function for actuating valves so we don't check multiple times (in cmd / sequence functions.)
		 			HAL_GPIO_WritePin(valve1_GPIO_Port, valve1_Pin, GPIO_PIN_SET); break;
		 		case CMD_OPEN_SOL2:
		 			HAL_GPIO_WritePin(valve2_GPIO_Port, valve2_Pin, GPIO_PIN_SET); break;
		 		case CMD_OPEN_SOL3:
		 		 	HAL_GPIO_WritePin(valve3_GPIO_Port, valve3_Pin, GPIO_PIN_SET); break;
		 		case CMD_OPEN_SOL4: // IEP VALVE (PWM)
		 		 	HAL_GPIO_WritePin(TIM8_CH1_VALVE4_GPIO_Port, TIM8_CH1_VALVE4_Pin, GPIO_PIN_SET); break;
		 		case CMD_OPEN_SOL5:
		 		 	HAL_GPIO_WritePin(valve5_GPIO_Port, valve5_Pin, GPIO_PIN_SET); break;
		 		case CMD_OPEN_SOL6: // IEP VALVE (PWM)
		 		 	HAL_GPIO_WritePin(TIM3_CH3_VALVE6_GPIO_Port, TIM3_CH3_VALVE6_Pin, GPIO_PIN_SET); break;
		 		case CMD_OPEN_SOL7:
		 		    HAL_GPIO_WritePin(valve7_GPIO_Port, valve7_Pin, GPIO_PIN_SET); break;
		 		case CMD_OPEN_SOL8:
		 		 	HAL_GPIO_WritePin(valve8_GPIO_Port, valve8_Pin, GPIO_PIN_SET); break;
		 		case CMD_OPEN_SOL9:
		 		    //HAL_GPIO_WritePin(valve9_GPIO_Port, valve9_Pin, GPIO_PIN_SET); break;
		 		case CMD_OPEN_SOL10:
		 		    HAL_GPIO_WritePin(valve10_GPIO_Port, valve10_Pin, GPIO_PIN_SET); break;
		 		case CMD_OPEN_SOL11:
		 		    HAL_GPIO_WritePin(valve11_GPIO_Port, valve11_Pin, GPIO_PIN_SET); break;
		 		case CMD_OPEN_SOL12:
		 		    HAL_GPIO_WritePin(valve12_GPIO_Port, valve12_Pin, GPIO_PIN_SET); break;
		 		case CMD_OPEN_SOL13:
		 		    HAL_GPIO_WritePin(valve13_GPIO_Port, valve13_Pin, GPIO_PIN_SET); break;
		 		case CMD_OPEN_SOL14:
		 		    HAL_GPIO_WritePin(valve14_GPIO_Port, valve14_Pin, GPIO_PIN_SET); break;
		 		case CMD_OPEN_SOL15:
		 		    HAL_GPIO_WritePin(valve15_GPIO_Port, valve15_Pin, GPIO_PIN_SET); break;
		 		case CMD_OPEN_SOL16:
		 		    HAL_GPIO_WritePin(valve16_GPIO_Port, valve16_Pin, GPIO_PIN_SET); break;
		 		case CMD_OPEN_SOL17:
		 		    HAL_GPIO_WritePin(valve17_GPIO_Port, valve17_Pin, GPIO_PIN_SET); break;
		 		case CMD_OPEN_SOL18:
		 		    HAL_GPIO_WritePin(valve18_GPIO_Port, valve18_Pin, GPIO_PIN_SET); break;

// Close Solenoid Valve Commands

		 		case CMD_CLOSE_SOL1:
		 			HAL_GPIO_WritePin(valve1_GPIO_Port, valve1_Pin, GPIO_PIN_RESET); break;
		 		case CMD_CLOSE_SOL2:
		 			HAL_GPIO_WritePin(valve2_GPIO_Port, valve2_Pin, GPIO_PIN_RESET); break;
		 		case CMD_CLOSE_SOL3:
		 		 	HAL_GPIO_WritePin(valve3_GPIO_Port, valve3_Pin, GPIO_PIN_RESET); break;
		 		case CMD_CLOSE_SOL4: // IEP VALVE (PWM)
		 		 	HAL_GPIO_WritePin(TIM8_CH1_VALVE4_GPIO_Port, TIM8_CH1_VALVE4_Pin, GPIO_PIN_RESET); break;
		 		case CMD_CLOSE_SOL5:
		 		 	HAL_GPIO_WritePin(valve5_GPIO_Port, valve5_Pin, GPIO_PIN_RESET); break;
		 		case CMD_CLOSE_SOL6: // IEP VALVE (PWM)
		 		 	HAL_GPIO_WritePin(TIM3_CH3_VALVE6_GPIO_Port, TIM3_CH3_VALVE6_Pin, GPIO_PIN_RESET); break;
		 		case CMD_CLOSE_SOL7:
		 		    HAL_GPIO_WritePin(valve7_GPIO_Port, valve7_Pin, GPIO_PIN_RESET); break;
		 		case CMD_CLOSE_SOL8:
		 		 	HAL_GPIO_WritePin(valve8_GPIO_Port, valve8_Pin, GPIO_PIN_RESET); break;
		 		case CMD_CLOSE_SOL9:
		 		    //HAL_GPIO_WritePin(valve9_GPIO_Port, valve9_Pin, GPIO_PIN_RESET); break;
		 		case CMD_CLOSE_SOL10:
		 		    HAL_GPIO_WritePin(valve10_GPIO_Port, valve10_Pin, GPIO_PIN_RESET); break;
		 		case CMD_CLOSE_SOL11:
		 		    HAL_GPIO_WritePin(valve11_GPIO_Port, valve11_Pin, GPIO_PIN_RESET); break;
		 		case CMD_CLOSE_SOL12:
		 		 	HAL_GPIO_WritePin(valve12_GPIO_Port, valve12_Pin, GPIO_PIN_RESET); break;
		 		case CMD_CLOSE_SOL13:
		 		    HAL_GPIO_WritePin(valve13_GPIO_Port, valve13_Pin, GPIO_PIN_RESET); break;
		 		case CMD_CLOSE_SOL14:
		 		    HAL_GPIO_WritePin(valve14_GPIO_Port, valve14_Pin, GPIO_PIN_RESET); break;
		 		case CMD_CLOSE_SOL15:
		 		 	HAL_GPIO_WritePin(valve15_GPIO_Port, valve15_Pin, GPIO_PIN_RESET); break;
		 		case CMD_CLOSE_SOL16:
		 		    HAL_GPIO_WritePin(valve16_GPIO_Port, valve16_Pin, GPIO_PIN_RESET); break;
		 		case CMD_CLOSE_SOL17:
		 		 	HAL_GPIO_WritePin(valve17_GPIO_Port, valve17_Pin, GPIO_PIN_RESET); break;
		 		case CMD_CLOSE_SOL18:
		 	        HAL_GPIO_WritePin(valve18_GPIO_Port, valve18_Pin, GPIO_PIN_RESET); break;

          		 	    	// until we get two AD7124's wqrking at once.

// read device id's

		 		case CMD_READ_ID_PT:
		 		    device_id = ad7124_read_device_id(PRESSURE);
		 			Serial_Printf("AD7124 Device ID: %ld \n", device_id);
		 			if(device_id == 20 || device_id == 23){ // device id for dataversion E || https://ez.analog.com/data_converters/precision_adcs/f/q-a/574494/ad7124-8-device-id-question
		 				 printf("|| SUCCESS \n");
		 				 HAL_GPIO_WritePin(LED_PIN_GREEN_GPIO_Port, LED_PIN_GREEN_Pin, GPIO_PIN_SET);
//		 				 read_status_register(); potentially integrate for error checking / sending status back
		 			}
					break;
		 		case CMD_READ_ID_V:
		 			 device_id = ad7124_read_device_id(VOLTAGE);

		 			 Serial_Printf("AD7124 Device ID: %ld \n", device_id);
		 			 if(device_id == 20 || device_id == 23){ // device id for dataversion E || https://ez.analog.com/data_converters/precision_adcs/f/q-a/574494/ad7124-8-device-id-question
		 				printf("|| SUCCESS \n");
		 				 HAL_GPIO_WritePin(LED_PIN_GREEN_GPIO_Port, LED_PIN_GREEN_Pin, GPIO_PIN_SET);
		 		//		 				 read_status_register();
		 			 }
		 			 else{
		 				printf("Fail Read Voltage AD7124 \n");
		 			 }
					 break;
		 		case CMD_READ_ID_FDC:
		 		 	if(isConnected()==0){

		 		 		printf("FDC NOMINAL \n");
			 			HAL_GPIO_WritePin(LED_PIN_GREEN_GPIO_Port, LED_PIN_GREEN_Pin, GPIO_PIN_SET);

		 		 	}
		 		 	else{
		 		 		printf("FDC FAIL IS NOT CONNECTED \n");
		 		 	}

		 		 	device_id = FDC2214_get_device_id();
			 		Serial_Printf("FDC2214 Device ID: %ld \n", device_id);

					break;

// READ PC104 ADC CHANNELS

// Resistor Values = |------ 510K ----- 100K ------|>
// Voltage Poll and Conversion are already done on a different thread.

				case CMD_READ_12VA_VB:
					value = Payload_Sys.data_log._12VA_VB.voltage;
					//value = display_channel_sample(CH_12VA_VB,VOLTAGE, &Payload_Sys);
					Serial_Printf("PC104 Voltage Reading 12VA_VB: %d \r\n", value);
					break;

				case CMD_READ_12VA_VA:
					value = Payload_Sys.data_log._12VA_VA.voltage;
//					value = display_channel_sample(CH_12VA_VA,VOLTAGE, &Payload_Sys);
					Serial_Printf("PC104 Voltage Reading 12VA_VA: %d \r\n", value);
					break;
				case CMD_READ_3V3_VB:
					value = Payload_Sys.data_log._3V3_VB.voltage;
					//value = display_channel_sample(CH_3V3_VB,VOLTAGE, &Payload_Sys);
					Serial_Printf("PC104 Voltage Reading 3V3_VB: %d \r\n", value);
					break;
				case CMD_READ_3V3_VA:
					value = Payload_Sys.data_log._3V3_VA.voltage;
					//value = display_channel_sample(CH_3V3_VA,VOLTAGE, &Payload_Sys);
					Serial_Printf("PC104 Voltage Reading 3V3_VA: %d \r\n", value);
					break;
				case CMD_READ_VBAT_VA:
					value = Payload_Sys.data_log._VBAT_VA.voltage;
					//value = display_channel_sample(CH_VBAT_VA,VOLTAGE, &Payload_Sys);
					Serial_Printf("PC104 Voltage Reading VBAT_VA: %d \r\n", value);
					break;
				case CMD_READ_VBAT_VB:
					value = Payload_Sys.data_log._VBAT_VB.voltage;
					// value = display_channel_sample(CH_VBAT_VB,VOLTAGE, &Payload_Sys);
					Serial_Printf("PC104 Voltage Reading VBAT_VB: %d \r\n", value);
					break;
				case CMD_READ_12VB_VA:
					value = Payload_Sys.data_log._12VB_VA.voltage;
					//value = display_channel_sample(CH_12VB_VA,VOLTAGE, &Payload_Sys);
					Serial_Printf("PC104 Voltage Reading 12VB_VA: %d \r\n", value);
					break;
				case CMD_READ_12VB_VB:
					value = Payload_Sys.data_log._12VB_VB.voltage;
					//value = display_channel_sample(CH_12VB_VB,VOLTAGE, &Payload_Sys);
					Serial_Printf("PC104 Voltage Reading 12VB_VB: %d \r\n", value);
					break;

// Read PC104 Currents
				case CMD_READ_12VA_VB_CURRENT:
					value = Payload_Sys.data_log._12VA_VB.current;
					//value = ad7124_read_channel_current_pc104(CH_12VA_VB);
					Serial_Printf("PC104 Current Reading 12VA_VB: %d \r\n", value);
					break;
				case CMD_READ_12VA_VA_CURRENT:
					value = Payload_Sys.data_log._12VA_VA.current;
					//value = ad7124_read_channel_current_pc104(CH_12VA_VA);
					Serial_Printf("PC104 Current Reading 12VA_VA: %d \r\n", value);
					break;
				case CMD_READ_3V3_VB_CURRENT:
					value = Payload_Sys.data_log._3V3_VB.current;
					//value = ad7124_read_channel_current_pc104(CH_3V3_VB);
					Serial_Printf("PC104 Current Reading 3V3_VB : %d \r\n", value);
					break;
				case CMD_READ_3V3_VA_CURRENT:
					value = Payload_Sys.data_log._3V3_VA.current;
					//value = ad7124_read_channel_current_pc104(CH_3V3_VA);
					Serial_Printf("PC104 Current Reading 3V3_VA : %d \r\n", value);
					break;
				case CMD_READ_VBAT_VA_CURRENT:
					value = Payload_Sys.data_log._VBAT_VA.current;
					//value = ad7124_read_channel_current_pc104(CH_VBAT_VA);
					Serial_Printf("PC104 Current Reading VBAT_VA : %d \r\n", value);
					break;
				case CMD_READ_VBAT_VB_CURRENT:
					value = Payload_Sys.data_log._VBAT_VB.current;
					//value = ad7124_read_channel_current_pc104(CH_VBAT_VB);
					Serial_Printf("PC104 Current Reading VBAT_VB : %d \r\n", value);
					break;
				case CMD_READ_12VB_VA_CURRENT:
					value = Payload_Sys.data_log._12VB_VA.current;
					//value = ad7124_read_channel_current_pc104(CH_12VB_VA);
					Serial_Printf("PC104 Current Reading 12VB_VA: %d \r\n",  value);
					break;
				case CMD_READ_12VB_VB_CURRENT:
					value = Payload_Sys.data_log._12VB_VB.current;
					//value = ad7124_read_channel_current_pc104(CH_12VB_VB);
					Serial_Printf("PC104 Current Reading 12VB_VB: %d \r\n", value);
					break;
// Read Pressure Sensors

	 			case CMD_READ_PT1:
	 				value =  0; // ad7124_read_pressure(CH_P0);
	 				// will need to convert the voltage value to a current / temp reading function eventually in ad7124.h
	 				Serial_Printf("Pressure Reading PT 1: %d \r\n", value);
					break;
	 			case CMD_READ_PT2:
	 				value = 0; // ad7124_read_pressure(CH_P1);
	 				Serial_Printf("Pressure Reading PT 2: %d \r\n", value);
					break;
	 			case CMD_READ_PT3:
	 				value = 0; // ad7124_read_pressure(CH_P2);
	 				Serial_Printf("Pressure Reading PT 3: %d \r\n", value);
					break;
	 			case CMD_READ_PT4:
	 				value = 0; // ad7124_read_pressure(CH_P3);
	 				Serial_Printf("Pressure Reading PT 4: %d \r\n", value);
					break;
	 			case CMD_READ_PT5:
	 				value = 0; // ad7124_read_pressure(CH_P4);
	 				Serial_Printf("Pressure Reading PT 5: %d \r\n", value);
					break;
	 			case CMD_READ_PT6:
	 				value = 0; // ad7124_read_pressure(CH_P5);
	 				Serial_Printf("Pressure Reading PT 6: %d \r\n", value);
					break;
	 			case CMD_READ_PT7:
	 				value = 0; // ad7124_read_pressure(CH_P6);
	 				Serial_Printf("Pressure Reading PT 7: %d \r\n", value);
					break;
	 			case CMD_READ_PT8:
	 				value = 0; // ad7124_read_pressure(CH_P7);
	 				Serial_Printf("Pressure Reading PT 8: %d \r\n", value);
					break;

// Read Valve States
	 			case CMD_READ_VALVE_STATE1:
	 				pinState = HAL_GPIO_ReadPin(valve1_GPIO_Port, valve1_Pin);
	 				if (pinState == GPIO_PIN_SET){
		 				Serial_Print("Valve ON \n");

	 				}
	 				else{
		 				Serial_Print("Valve OFF \n");
	 				}
					break;
	 			case CMD_READ_VALVE_STATE2:
	 				 pinState = HAL_GPIO_ReadPin(valve2_GPIO_Port, valve2_Pin);
	 				 if (pinState == GPIO_PIN_SET){
	 					Serial_Print("Valve ON \n");
	 				 }
	 				 else{
	 					Serial_Print("Valve OFF \n");
	 				 }
					 break;

	 			case CMD_READ_VALVE_STATE3:
	 				pinState = HAL_GPIO_ReadPin(valve3_GPIO_Port, valve3_Pin);
	 				if (pinState == GPIO_PIN_SET){
		 				Serial_Print("Valve ON \n");

	 				}
	 				else{
		 				Serial_Print("Valve OFF \n");
	 				}
					break;
	 			case CMD_READ_VALVE_STATE4:
	 				 pinState = HAL_GPIO_ReadPin(TIM8_CH1_VALVE4_GPIO_Port, TIM8_CH1_VALVE4_Pin);
	 				 if (pinState == GPIO_PIN_SET){
	 					Serial_Print("Valve ON \n");
	 				 }
	 				 else{
	 					Serial_Print("Valve OFF \n");
	 				 }
					 break;

	 			case CMD_READ_VALVE_STATE5:
	 				pinState = HAL_GPIO_ReadPin(valve5_GPIO_Port, valve5_Pin);
	 				if (pinState == GPIO_PIN_SET){
		 				Serial_Print("Valve ON \n");

	 				}
	 				else{
		 				Serial_Print("Valve OFF \n");
	 				}
					break;
	 			case CMD_READ_VALVE_STATE6:
	 				pinState = HAL_GPIO_ReadPin(TIM3_CH3_VALVE6_GPIO_Port, TIM3_CH3_VALVE6_Pin);
	 				if (pinState == GPIO_PIN_SET){
	 					Serial_Print("Valve ON \n");
	 				}
	 				else{
	 					Serial_Print("Valve OFF \n");
	 				}
					break;
	 			case CMD_READ_VALVE_STATE7:
	 				pinState = HAL_GPIO_ReadPin(valve7_GPIO_Port, valve7_Pin);
	 				if (pinState == GPIO_PIN_SET){
		 				Serial_Print("Valve ON \n");

	 				}
	 				else{
		 				Serial_Print("Valve OFF \n");
	 				}
					break;
	 			case CMD_READ_VALVE_STATE8:
	 				pinState = HAL_GPIO_ReadPin(valve8_GPIO_Port, valve8_Pin);
	 				if (pinState == GPIO_PIN_SET){
	 					Serial_Print("Valve ON \n");
	 				}
	 				else{
	 					Serial_Print("Valve OFF \n");
	 				}
					break;
	 			case CMD_READ_VALVE_STATE9:
	 				//pinState = HAL_GPIO_ReadPin(valve9_GPIO_Port, valve9_Pin);
	 				if (pinState == GPIO_PIN_SET){
		 				Serial_Print("Valve ON \n");

	 				}
	 				else{
		 				Serial_Print("Valve OFF \n");
	 				}
					break;
	 			case CMD_READ_VALVE_STATE10:
	 				pinState = HAL_GPIO_ReadPin(valve10_GPIO_Port, valve10_Pin);
	 				if (pinState == GPIO_PIN_SET){
	 					Serial_Print("Valve ON \n");
	 				}
	 				else{
	 					Serial_Print("Valve OFF \n");
	 				}
					break;
	 			case CMD_READ_VALVE_STATE11:
	 				pinState = HAL_GPIO_ReadPin(valve11_GPIO_Port, valve11_Pin);
	 				if (pinState == GPIO_PIN_SET){
		 				Serial_Print("Valve ON \n");

	 				}
	 				else{
		 				Serial_Print("Valve OFF \n");
	 				}
					break;
	 			case CMD_READ_VALVE_STATE12:
	 				pinState = HAL_GPIO_ReadPin(valve12_GPIO_Port, valve12_Pin);
	 				if (pinState == GPIO_PIN_SET){
	 					Serial_Print("Valve ON \n");
	 				}
	 				else{
	 					Serial_Print("Valve OFF \n");
	 				}
					break;
	 			case CMD_READ_VALVE_STATE13:
	 				pinState = HAL_GPIO_ReadPin(valve13_GPIO_Port, valve13_Pin);
	 				if (pinState == GPIO_PIN_SET){
		 				Serial_Print("Valve ON \n");

	 				}
	 				else{
		 				Serial_Print("Valve OFF \n");
	 				}
					break;
	 			case CMD_READ_VALVE_STATE14:
	 				pinState = HAL_GPIO_ReadPin(valve14_GPIO_Port, valve14_Pin);
	 				if (pinState == GPIO_PIN_SET){
	 					Serial_Print("Valve ON \n");
	 				}
	 				else{
	 					Serial_Print("Valve OFF \n");
	 				}
					break;
	 			case CMD_READ_VALVE_STATE15:
	 				pinState = HAL_GPIO_ReadPin(valve15_GPIO_Port, valve15_Pin);
	 				if (pinState == GPIO_PIN_SET){
		 				Serial_Print("Valve ON \n");

	 				}
	 				else{
		 				Serial_Print("Valve OFF \n");
	 				}
					break;
	 			case CMD_READ_VALVE_STATE16:
	 				pinState = HAL_GPIO_ReadPin(valve16_GPIO_Port, valve16_Pin);
	 				if (pinState == GPIO_PIN_SET){
	 					Serial_Print("Valve ON \n");
	 				}
	 				else{
	 					Serial_Print("Valve OFF \n");
	 				}
					break;
	 			case CMD_READ_VALVE_STATE17:
	 				pinState = HAL_GPIO_ReadPin(valve17_GPIO_Port, valve17_Pin);
	 				if (pinState == GPIO_PIN_SET){
		 				Serial_Print("Valve ON \n");

	 				}
	 				else{
		 				Serial_Print("Valve OFF \n");
	 				}
					break;
	 			case CMD_READ_VALVE_STATE18:
	 				 pinState = HAL_GPIO_ReadPin(valve18_GPIO_Port, valve18_Pin);
	 				 if (pinState == GPIO_PIN_SET){
	 					Serial_Print("Valve ON \n");
	 				 }
	 				 else{
	 					Serial_Print("Valve OFF \n");
	 				 }
					 break;

// Read MAX31856 Temperatures

		 	    case CMD_READ_TC1:
		 	    	temperature = max31856_read_TC_temp(&max31856T1); // compensates already for cold junction reading
	 				max31856_read_fault(&max31856T1);
		 		    if (max31856T1.sr.val) {
						Serial_Printf("TC Read Fail ERROR TC1 #: %d \n", max31856T1.sr.val);
		 		   	   	print_errors(max31856T1.sr.val); // test functionality of error discerning

		 		    }
		 		    else{
			 		    Serial_Printf("Temperature Reading TC1: %f \r\n", temperature);
		 		    }
					break;

		 	    case CMD_READ_TC2:
		 	    	temperature = max31856_read_TC_temp(&max31856T2);
		 	    	max31856_read_fault(&max31856T2);
		 		    if (max31856T2.sr.val) {
						Serial_Printf("TC Read Fail ERROR TC2 #: %d \n", max31856T2.sr.val);
		 		   	   	print_errors(max31856T2.sr.val);

		 		    }
		 		    else{
			 		    Serial_Printf("Temperature Reading TC2: %f \r\n", temperature);
		 		    }
					break;
		 	    case CMD_READ_TC3:
		 	    	temperature = max31856_read_TC_temp(&max31856T3);
					Serial_Printf("Temperature Reading TC3: %f \r\n", temperature);
		 	    	max31856_read_fault(&max31856T3); // it willk read a fault because no k-type thermo connected .
		 		    // if (max31856T3.sr.val) {
					// 	Serial_Printf("TC Read Fail ERROR TC3 #: %d \n", max31856T3.sr.val);
		 		   	//    	print_errors(max31856T3.sr.val);

		 		    // }
		 		    // else{
			 		//     Serial_Printf("Temperature Reading TC3: %f \r\n", temperature);
		 		    // }
					break;
		 	    case CMD_READ_TC4:
		 	    	temperature = max31856_read_TC_temp(&max31856T4);
		 	    	max31856_read_fault(&max31856T4);
		 		    if (max31856T4.sr.val) {
						Serial_Printf("TC Read Fail ERROR TC4 #: %d \n", max31856T4.sr.val);
		 		   	   	print_errors(max31856T4.sr.val);

		 		    }
		 		    else{
			 		    Serial_Printf("Temperature Reading TC4: %f \r\n", temperature);
		 		    }
					break;
		 	    case CMD_READ_TC5:
		 	    	temperature = max31856_read_TC_temp(&max31856T5);
		 	    	max31856_read_fault(&max31856T5);
		 		    if (max31856T5.sr.val) {
						Serial_Printf("TC Read Fail ERROR TC5 #: %d \n", max31856T5.sr.val);
		 		   	   	print_errors(max31856T5.sr.val); // need to test during hardware test

		 		    }
		 		    else{
			 		    Serial_Printf("Temperature Reading TC5: %f \r\n", temperature);
		 		    }
					break;

// Read MAX31856 Cold-Junction Temperatures || reading cold junction temps (MAX31856 chip does NOT have a device id thus this is the next best way to see if the chip is responding.)

		 	    case CMD_READ_TC1_CJ:
		 		   temperature = max31856_read_CJ_temp(&max31856T1);
		 		   // max31856_read_fault(&max31856T1);
			 	   Serial_Printf("Cold Junction Temperature Reading TC1: %f \r\n", temperature);
				   break;
		 	    case CMD_READ_TC2_CJ:
			 	   temperature = max31856_read_CJ_temp(&max31856T2);
			 	//    max31856_read_fault(&max31856T2);
			 	//    if (max31856T2.sr.val) {
				// 	   Serial_Printf("TC Read Fail ERROR TC2 #: %d \n", max31856T2.sr.val);
			 	//    }
			 	//    else{
			 	   Serial_Printf("Cold Junction Temperature Reading TC2: %f \r\n", temperature);

			 	//    }
				   break;
		 	    case CMD_READ_TC3_CJ:
				   temperature = max31856_read_CJ_temp(&max31856T3);
				   // max31856_read_fault(&max31856T3);
				//    if (max31856T3.sr.val) {
				// 	   Serial_Printf("TC Read Fail ERROR TC3 #: %d \n", max31856T3.sr.val);
				//    }
				//    else{
			 	// 	   Serial_Printf("Cold Junction Temperature Reading TC3: %f \r\n", temperature);

				//    }
				   Serial_Printf("Cold Junction Temperature Reading TC3: %f \r\n", temperature);
				   break;
		 	    case CMD_READ_TC4_CJ:
				   temperature = max31856_read_CJ_temp(&max31856T4);
				//    max31856_read_fault(&max31856T4);
				//    if (max31856T4.sr.val) {
				// 	   Serial_Printf("TC Read Fail ERROR TC4 #: %d \n", max31856T4.sr.val);
				//    }
				//    else{
			 	// 	   Serial_Printf("Cold Junction Temperature Reading TC4: %f \r\n", temperature);
				//    }
				   Serial_Printf("Cold Junction Temperature Reading TC4: %f \r\n", temperature);
				   break;
		 	    case CMD_READ_TC5_CJ:
				   temperature = max31856_read_CJ_temp(&max31856T5);
				//    max31856_read_fault(&max31856T5);
			    //    if (max31856T5.sr.val) {
				// 	   Serial_Printf("TC Read Fail ERROR TC5 #: %d \n", max31856T5.sr.val);
				//    }
			    //    else{
			    //  	   Serial_Printf("Cold Junction Temperature Reading TC5: %f \r\n", temperature);
			    //    }
				   Serial_Printf("Cold Junction Temperature Reading TC5: %f \r\n", temperature);
				   break;

// FDC2214 Reads
		 	    case READ_CAPACITANCE_A1:
		 	    	// test both when testing, should return the same value.
		 	 		if(FDC2214_is_data_ready(FDC2214_CH0)){
		 	 	 		 float c_pf = FDC2214_readCapacitancePf(FDC2214_CH0, FDC2214_L_HENRY);
		 	 	 		 Serial_Printf("Capacitance (pF): %f \n", c_pf);
		 	 		}
					break;
//					value = FDC2214_read_differential_capacitance(1);
//	 				Serial_Printf("Differential Capacitance Reading FDC2214 A1: %f \r\n", capacitance);
		 	    case READ_CAPACITANCE_A2:
					value = FDC2214_read_differential_capacitance(2);
	 				Serial_Printf("Differential Capacitance Reading FDC2214 A2: %f \r\n", value);
					break;
	 			case READ_PROPELLANT_LEVEL_A1:
	 				value = FDC2214_read_accumulator_height(1);
	 				Serial_Printf("Catalyst Height Reading FDC2214 A1: %d \r\n", value);
					break;
	 			case READ_PROPELLANT_LEVEL_A2:
	 				value = FDC2214_read_accumulator_height(2);
	 				Serial_Printf("Catalyst Height Reading FDC2214 A2: %d \r\n", value);
					break;

// Miscellaneous Commands

		 		case CMD_TOGGLE_LED_RED:
		 		     HAL_GPIO_TogglePin(LED_PIN_RED_GPIO_Port, LED_PIN_RED_Pin); break;
		 		case CMD_TOGGLE_LED_GREEN:
		 		     HAL_GPIO_TogglePin(LED_PIN_GREEN_GPIO_Port, LED_PIN_GREEN_Pin); break;
		 		case CMD_TOGGLE_LED_AMBER:
		 		     HAL_GPIO_TogglePin(LED_PIN_AMBER_GPIO_Port, LED_PIN_AMBER_Pin); break;

// Events

		 		case CMD_MANUAL_HEATER_TURN_ON:
		 		    HAL_GPIO_WritePin(heater_en_GPIO_Port, heater_en_Pin, GPIO_PIN_SET);
					break;
		 		case CMD_MANUAL_HEATER_TURN_OFF:
		 		    HAL_GPIO_WritePin(heater_en_GPIO_Port, heater_en_Pin, GPIO_PIN_RESET);
					break;

				case REGULATE_DC_PRESSURE_INPUT_VALUE: // valve 4

					HAL_GPIO_TogglePin(LED_PIN_GREEN_GPIO_Port, LED_PIN_GREEN_Pin);

					duty_cycle = frame.arg; // obtain duty cycle argument (0-100)
//					HAL_TIM_PWM_Start(&htim3, TIM_CHANNEL_3); // start pwm on timer 3 channel 3 for valve 4
//					pwm_set(&htim3,TIM_CHANNEL_3, frequency, duty_cycle);
//
					HAL_TIM_PWM_Start(&htim8, TIM_CHANNEL_2); // valve 9
					pwm_set(&htim8,TIM_CHANNEL_2, frequency, duty_cycle);
					break;

				case CMD_REGULATE_DC_PRESSURE_TWO_INPUT_VALUE: // valve 6
					duty_cycle = frame.arg; // obtain duty cycle argument
					HAL_GPIO_TogglePin(LED_PIN_GREEN_GPIO_Port, LED_PIN_GREEN_Pin);

					HAL_TIM_PWM_Start(&htim8, TIM_CHANNEL_1);
					pwm_set(&htim8,TIM_CHANNEL_1, frequency, duty_cycle);
					break;

					// let's see if it works!

				case REGULATE_PRESSURE_F_INPUT_VALUE:
					frequency = frame.arg;
					printf("freq: %d\n", frequency);
					HAL_GPIO_TogglePin(LED_PIN_GREEN_GPIO_Port, LED_PIN_GREEN_Pin);
					//HAL_TIM_PWM_Start(&htim3, TIM_CHANNEL_3); // start pwm on timer 3 channel 3 for valve 4
					HAL_TIM_PWM_Start(&htim8, TIM_CHANNEL_2); // valve 9
					//pwm_set(&htim3,TIM_CHANNEL_3, frequency, duty_cycle);
					pwm_set(&htim8,TIM_CHANNEL_2, frequency, duty_cycle);

//					printf("%d",htim3.Instance->PSC);
//					printf("%d",htim3.Instance->ARR);
//					printf("%d",htim3.Instance->CCR3);
					printf("%d",htim8.Instance->PSC);
					printf("%d",htim8.Instance->ARR);
					printf("%d",htim8.Instance->CCR3);

					break;

				case REGULATE_PRESSURE_TWO_F_INPUT_VALUE:
					HAL_GPIO_TogglePin(LED_PIN_GREEN_GPIO_Port, LED_PIN_GREEN_Pin);

					frequency = frame.arg;
					HAL_TIM_PWM_Start(&htim8, TIM_CHANNEL_1);
					pwm_set(&htim8,TIM_CHANNEL_1, frequency, duty_cycle);
					break;

				case REGULATE_PRESSURE_1_STOP: // valve 4
//					HAL_TIM_PWM_Stop(&htim3, TIM_CHANNEL_3);
					HAL_TIM_PWM_Stop(&htim8, TIM_CHANNEL_2);

					break;
				case REGULATE_PRESSURE_2_STOP: // valve 6
					HAL_TIM_PWM_Stop(&htim8, TIM_CHANNEL_1);
					break;
				default:
					break;
		 	}
//		osMutexRelease(spi_mutexHandle);
//		osMutexRelease(i2c_mutexHandle);
	  }
    osDelay(1);
  }
  /* USER CODE END StartTask04 */
}

void StartTask05(void *argument)
{
  /* USER CODE BEGIN StartTask05 */
  /* Infinite loop */
  for(;;)
  {
    osDelay(1000);
    // TX UART Task (waits for queue to get pushed to) queue contains composed packet
//
	 if(osSemaphoreAcquire(s_tx_semaphoreHandle, osWaitForever)== osOK){
	 // Take Data Mutex
	 	//osMutexAcquire(data_mutexHandle, osWaitForever);

	    //osMutexAcquire(uart_mutexHandle, osWaitForever);

	 	//printf("%f \n", Payload_Sys.data_log.pressure_1.pressure);

	 	//printPacketJSON(&Payload_Sys.data_log);  // (to serial monitor) || We ideally want to also store data from experiments so sending it in a format where the python script is able to aggregate data into a spreadsheet format.?
	 	//printPacketJSON(&Payload_Sys.data_log); //  << this UART TX breaks the commanding features

	 	//osMutexRelease(uart_mutexHandle);

	 	// HAL_GPIO_TogglePin(LED_PIN_GREEN_GPIO_Port, LED_PIN_GREEN_Pin);
     // SEND MESSAGE OVER UART - if we are always sending something over UART to computer will commanding work?

	 // Release Data Mutex
	 	//osMutexRelease(data_mutexHandle);
	 }
  }
  /* USER CODE END StartTask05 */
}

void StartTask06(void *argument)
{
  /* USER CODE BEGIN StartTask06 */
  /* Infinite loop */
  for(;;)
  {
	// task data acquistion

	// take data mutex
//
//    osMutexAcquire(data_mutexHandle, osWaitForever);
//    osMutexAcquire(spi_mutexHandle, osWaitForever);
//    osMutexAcquire(i2c_mutexHandle, osWaitForever);

//    // Poll Valve States
//
//    update_valve_states(&Payload_Sys);
//
//
//	// Poll Temperature Data
//
//    update_temperature_data(&Payload_Sys);
//
//
//    // Poll Pressure Data
//
    update_pressure_data(&Payload_Sys);
 	printf("%f \n", Payload_Sys.data_log.pressure_1.pressure);

//
//
//    // Update PC104 Voltage Data
//
//    update_voltage_data(&Payload_Sys);
//
//	// poll from sensors and store in global data_log attached to Payload_System

//    update
//
//	// take/release spi/i2c mutex
//
//	// release data mutex
//    osMutexRelease(i2c_mutexHandle);
//    osMutexRelease(spi_mutexHandle);
//	osMutexRelease(data_mutexHandle);

//	// release data_log seamphore for UART_TX to send packet over UART to the PC104
//
	//xSemaphoreGive(s_tx_semaphoreHandle); // give semaphore for UART_TX to be able to take it.
//

//    osDelay(1000); // poll data every second depends the frequency of data we want
  }
  /* USER CODE END StartTask06 */
}

void StartTask07(void *argument)
{
  /* USER CODE BEGIN StartTask07 */
  /* Infinite loop */
  for(;;)
  {
    osDelay(1);

    // fsm task.

    // create fsm_tick struct and fetch data

    // execute fsm_tick function (returns the state)

    // commit fsm state and change Payload_Systems->FSM_State

  }
  /* USER CODE END StartTask07 */
}
